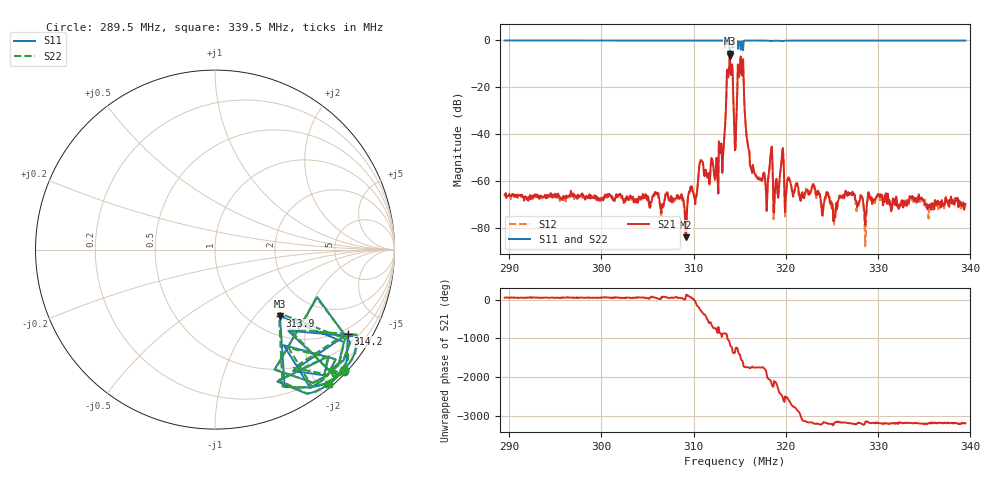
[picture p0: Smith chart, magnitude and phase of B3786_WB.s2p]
! Matrix data file written by TouchstoneData, EPCOS AG
! FILENAME: "LU53A_WB.s2p"
! COMMENT: "(touchstone/LU53A_MB.s2p) EPCOS AG 30.06.201"
! INFO: nport=2, nfreq=801
! DATE: "Wed Jun 30 15:35:44 2010"
! USER: "Aleksander Breg"
! port | pin | signal
!  1  |  2  |  input
!  2  |  5  |  output
# MHZ S MA R 50
! freq  magS11 angS11  magS21 angS21  magS12 angS12  magS22 angS22
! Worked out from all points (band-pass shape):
!   801 points, 289.5 MHz to 339.5 MHz, reference 50 ohm
!   highest |S21| = -6.67 dB at 313.9 MHz (marker M1); lowest = -83.9 dB at 309.2 MHz (marker M2)
!   |S21| within 3 dB of the highest: 313.8932 MHz to 313.9786 MHz (85.44 kHz wide, 0.0272 % of centre); 315.0503 MHz to 315.1546 MHz (104.2 kHz wide, 0.0331 % of centre) (the widest 2 of 3)
!   lowest |S11| = -5.7 dB at 313.9 MHz (marker M3), VSWR 3.16, Z = 67 - j68.2 ohm
!   |S11| at or under -10 dB: nowhere
!   |S22| runs from -6.0 to -0.1 dB; largest |S21 - S12| = 0.012
!   S11 on the Smith chart (normalised r, x): 289.5 MHz: 0.05, -2.53; 313.9 MHz: 1.34, -1.36; 314.2 MHz: 0.80, -3.26; 339.5 MHz: 0.06, -2.15
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289.5  0.9855 -43.2  0.0004967 47.5  0.0004805 52.5  0.9836 -42.9
297.875  0.9839 -44.5  0.0005391 51.6  0.000477 54.6  0.9836 -44.3
306.1875  0.9825 -46.0  0.0005507 25.2  0.0004357 26.5  0.9815 -45.8
309.1875  0.9827 -46.9  6.355e-05 113.8  7.739e-05 84.0  0.9809 -46.6
310.8125  0.9772 -47.4  0.002768 69.2  0.002766 69.9  0.9768 -47.1
312.4375  0.9781 -48.8  0.002095 -22.3  0.002127 -23.3  0.9791 -48.5
313.1875  0.9795 -50.7  0.003109 -154.8  0.003143 -151.6  0.9784 -50.4
313.9375  0.5189 -45.8  0.4637 -53.5  0.4668 -53.0  0.5014 -44.8
314.25  0.8771 -32.4  0.1933 85.4  0.1921 83.9  0.8726 -31.8
314.5  0.9757 -46.5  0.004548 77.4  0.004505 78.6  0.9763 -46.0
315.125  0.6288 -25.0  0.4473 -75.9  0.4468 -75.7  0.6261 -25.3
315.9375  0.9821 -43.0  0.00518 48.8  0.00521 49.1  0.9825 -42.7
316.5  0.9828 -44.6  0.001795 46.2  0.001836 47.2  0.9827 -44.4
317.9375  0.9743 -46.2  0.0002332 -120.1  0.0002307 -101.1  0.9771 -45.8
318.375  0.9563 -46.6  0.003854 59.2  0.003876 58.9  0.9651 -46.9
318.9375  0.973 -46.3  0.001044 20.9  0.001027 16.7  0.9684 -45.9
319.5625  0.9532 -46.7  0.002987 56.9  0.002978 57.4  0.9635 -47.0
320.125  0.9757 -46.0  0.0008629 -3.3  0.0007458 -3.5  0.9732 -45.8
322.875  0.9808 -47.1  0.0007669 61.0  0.0007753 60.5  0.9803 -46.8
325.1875  0.9804 -47.5  0.0001393 37.4  0.000122 4.6  0.9802 -47.3
331.1875  0.9797 -48.5  0.0003252 30.4  0.0003972 30.8  0.9796 -48.3
339.5  0.9791 -49.9  0.0003247 42.7  0.0002732 46.3  0.9794 -49.7
